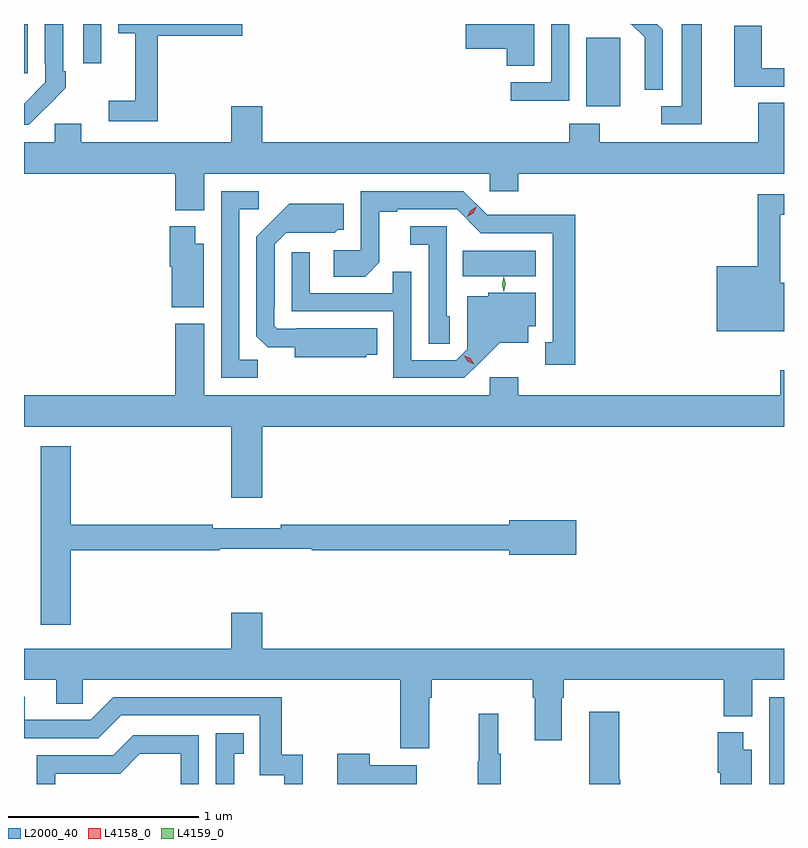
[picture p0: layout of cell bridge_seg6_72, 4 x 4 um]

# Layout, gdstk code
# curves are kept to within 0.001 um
import gdstk
lib = gdstk.Library(unit=1e-6, precision=1e-09)
def R(c, l, rs):  # rectangles x0, y0, x1, y1
    for r in rs: c.add(gdstk.rectangle(r[:2], r[2:], *l))
def P(c, l, *ps):  # polygons
    for p in ps: c.add(gdstk.Polygon(p, *l))
L2000_40 = (2000, 40)
L4158_0 = (4158, 0)
L4159_0 = (4159, 0)

bridge_seg6_72 = lib.new_cell('bridge_seg6_72')
R(bridge_seg6_72, L2000_40, [(635.373,933.467,635.45,933.924), (633.76,936.14,634.144,936.274), (634.409,937.034,634.588,937.395), (631.45,937.209,631.471,937.467), (631.761,937.26,631.857,937.467)])
P(bridge_seg6_72, L2000_40, [(634.812,937.438),(634.783,937.467),(634.647,937.467),(634.718,937.397),(634.718,937.274),(634.716,937.274),(634.716,937.12),(634.812,937.12)],
  [(634.647,937.467),(634.641,937.467),(634.644,937.464)],
  [(634.32,937.467),(634.224,937.467),(634.224,937.161),(634.011,937.161),(634.011,937.063),(634.32,937.063)],
  [(635.017,937.467),(634.913,937.467),(634.913,937.035),(634.803,937.035),(634.803,936.939),(635.017,936.939)],
  [(634.135,937.467),(633.774,937.467),(633.774,937.337),(633.992,937.337),(633.992,937.246),(634.135,937.246)],
  [(632.153,937.406),(632.599,937.406),(632.599,937.467),(631.946,937.467),(631.946,937.418),(632.036,937.418),(632.036,937.063),(631.896,937.063),(631.896,936.954),(632.153,936.954)],
  [(631.565,937.027),(631.566,937.026),(631.671,937.131),(631.671,937.219),(631.656,937.219),(631.656,937.467),(631.56,937.467),(631.56,937.261),(631.563,937.261),(631.563,937.161),(631.45,937.048),(631.45,936.936),(631.474,936.936)],
  [(635.45,937.233),(635.334,937.233),(635.334,937.457),(635.189,937.457),(635.189,937.137),(635.45,937.137)],
  [(632.398,936.68),(633.9,936.68),(633.9,936.587),(634.052,936.587),(634.052,936.68),(635.45,936.68),(635.45,937.052),(635.315,937.052),(635.315,936.844),(634.479,936.844),(634.479,936.943),(634.319,936.943),(634.319,936.844),(632.704,936.844),(632.704,937.033),(632.54,937.033),(632.54,936.844),(631.75,936.844),(631.75,936.942),(631.611,936.942),(631.611,936.844),(631.45,936.844),(631.45,936.68),(632.246,936.68),(632.246,936.488),(632.398,936.488)],
  [(634.351,936.464),(634.11,936.464),(634.11,936.462),(633.888,936.462),(633.762,936.588),(633.222,936.588),(633.222,936.276),(633.081,936.276),(633.081,936.136),(633.245,936.136),(633.321,936.212),(633.321,936.48),(633.415,936.48),(633.415,936.492),(633.729,936.492),(633.855,936.366),(634.232,936.366),(634.232,935.793),(634.193,935.793),(634.193,935.673),(634.351,935.673)],
  [(632.679,935.699),(632.583,935.699),(632.583,936.492),(632.686,936.492),(632.686,936.588),(632.487,936.588),(632.487,935.604),(632.679,935.604)],
  [(635.45,936.106),(635.429,936.106),(635.429,936.462),(635.45,936.462),(635.45,936.57),(635.311,936.57),(635.311,936.193),(635.096,936.193),(635.096,935.849),(635.45,935.849)],
  [(633.252,935.726),(633.308,935.726),(633.308,935.866),(632.884,935.866),(632.884,935.862),(632.784,935.862),(632.766,935.88),(632.766,935.98),(632.769,935.98),(632.769,936.309),(632.829,936.369),(633.086,936.368),(633.102,936.384),(633.133,936.384),(633.133,936.52),(632.845,936.52),(632.673,936.346),(632.673,935.824),(632.732,935.765),(632.876,935.765),(632.876,935.714),(633.252,935.714)],
  [(632.395,936.31),(632.35,936.31),(632.35,936.403),(632.216,936.403),(632.216,936.189),(632.228,936.189),(632.228,935.975),(632.395,935.975)],
  [(633.69,935.928),(633.675,935.928),(633.675,936.402),(633.483,936.402),(633.483,936.305),(633.579,936.305),(633.579,935.785),(633.69,935.785)],
  [(633.85,935.687),(633.953,935.789),(634.105,935.789),(634.105,935.876),(634.144,935.876),(634.144,936.052),(633.894,936.052),(633.894,936.034),(633.783,936.034),(633.783,935.754),(633.726,935.697),(633.489,935.697),(633.489,936.164),(633.391,936.164),(633.391,936.051),(632.955,936.051),(632.955,936.265),(632.859,936.265),(632.859,935.955),(633.393,935.955),(633.393,935.604),(633.766,935.604)],
  [(632.704,935.348),(635.45,935.348),(635.45,935.644),(635.429,935.644),(635.429,935.512),(634.052,935.512),(634.052,935.608),(633.9,935.608),(633.9,935.512),(632.398,935.512),(632.398,935.89),(632.246,935.89),(632.246,935.512),(631.45,935.512),(631.45,935.348),(632.54,935.348),(632.54,934.974),(632.704,934.974)],
  [(631.697,934.696),(632.48,934.696),(632.48,934.704),(632.965,934.704),(632.965,934.696),(634.004,934.696),(634.004,934.673),(634.357,934.673),(634.357,934.856),(634.004,934.856),(634.004,934.832),(632.8,934.832),(632.8,934.813),(632.444,934.813),(632.444,934.832),(631.697,934.832),(631.697,935.245),(631.538,935.245),(631.538,934.305),(631.697,934.305)],
  [(633.583,933.92),(633.596,933.92),(633.596,934.016),(634.127,934.016),(634.127,933.92),(634.139,933.92),(634.139,933.696),(634.279,933.696),(634.279,933.92),(634.292,933.92),(634.292,934.016),(635.132,934.016),(635.132,933.824),(635.284,933.824),(635.284,934.016),(635.45,934.016),(635.45,934.18),(632.704,934.18),(632.704,934.369),(632.54,934.369),(632.54,934.18),(631.45,934.18),(631.45,934.016),(631.619,934.016),(631.619,933.889),(631.758,933.889),(631.758,934.016),(633.431,934.016),(633.431,933.654),(633.583,933.654)],
  [(632.918,933.622),(632.807,933.622),(632.807,933.924),(631.92,933.924),(631.8,933.804),(631.453,933.804),(631.453,933.927),(631.45,933.927),(631.45,933.708),(631.842,933.708),(631.962,933.828),(632.691,933.828),(632.691,933.513),(632.82,933.513),(632.82,933.467),(632.918,933.467)],
  [(634.588,933.489),(634.583,933.489),(634.583,933.847),(634.424,933.847),(634.424,933.467),(634.588,933.467)],
  [(633.958,933.625),(633.947,933.625),(633.947,933.838),(633.844,933.838),(633.844,933.588),(633.837,933.588),(633.837,933.467),(633.958,933.467)],
  [(635.281,933.646),(635.236,933.646),(635.236,933.739),(635.102,933.739),(635.102,933.525),(635.114,933.525),(635.114,933.467),(635.281,933.467)],
  [(632.557,933.627),(632.606,933.627),(632.606,933.733),(632.46,933.733),(632.46,933.467),(632.557,933.467)],
  [(631.614,933.522),(631.956,933.522),(632.06,933.626),(632.274,933.626),(632.274,933.467),(632.37,933.467),(632.37,933.723),(632.024,933.723),(631.919,933.618),(631.516,933.618),(631.516,933.467),(631.614,933.467)],
  [(633.517,933.565),(633.269,933.565),(633.269,933.625),(633.098,933.625),(633.098,933.467),(633.517,933.467)])
P(bridge_seg6_72, L4158_0, [(633.782,936.453),(633.782,936.453),(633.799,936.485),(633.831,936.504),(633.831,936.504),(633.831,936.504),(633.814,936.471),(633.782,936.453)],
  [(633.816,935.677),(633.785,935.692),(633.767,935.721),(633.767,935.722),(633.767,935.722),(633.798,935.707),(633.816,935.678),(633.816,935.677)])
P(bridge_seg6_72, L4159_0, [(633.975,936.058),(633.966,936.098),(633.975,936.138),(633.975,936.138),(633.976,936.138),(633.985,936.098),(633.976,936.058),(633.976,936.058)])

lib.write_gds('bridge_seg6_72.gds')
